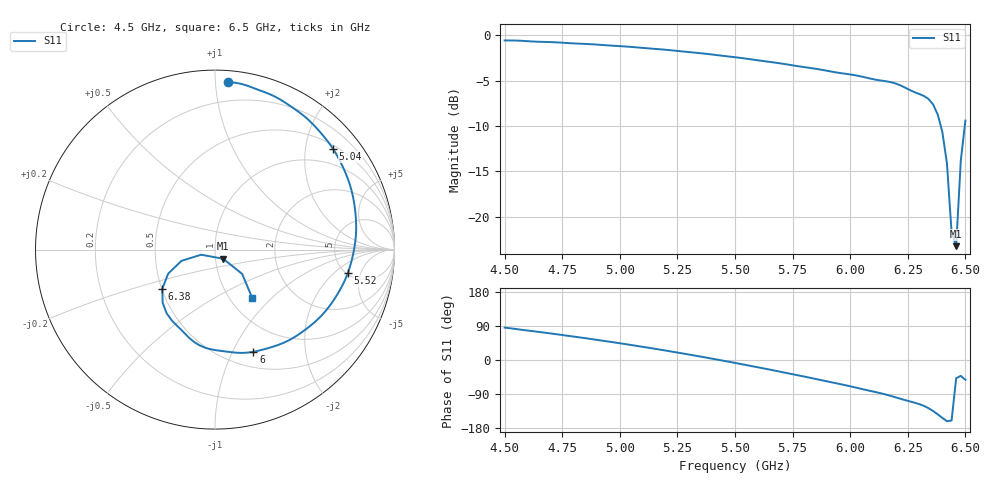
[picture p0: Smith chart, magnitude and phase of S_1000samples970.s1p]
! TOUCHSTONE file generated by CST MICROWAVE STUDIO
! Date and time: Sat Oct 29 23:09:37 2022
! Project name: L.cst
! Parameters = {Di=1.27; Epsilon_r=1.56; InnerDiameter=1.27; Length=2; Lf=10; Lg=60; OuterConductorThickness=0.2921; OuterDiameter=3.6; Wf=3; Wp=41.2; de=1.5; df=6.8; g=0.8; gx=0.905363; gy=3.29982; h=2.34; hf=1.524; px=8.04694; py=13.2864; w=9.7; wx=7.14157; wy=9.98654}
! Header version: 2018
! Port assignment regex: !\s*Touchstone port\s*([0-9]+)\s*=\s*(CST MWS port|CST DS port)\s*([0-9]+|Zmin|Zmax)\s*\(\"(.*)\"\)(\s*mode\s*([0-9]+))?.*
! Touchstone port assignment:
! Touchstone port 1 = CST MWS port 1 ("")
# GHz S DB R 50
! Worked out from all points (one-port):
!   101 points, 4.5 GHz to 6.5 GHz, reference 50 ohm
!   lowest |S11| = -23.3 dB at 6.46 GHz (marker M1), VSWR 1.15, Z = 54.5 - j5.6 ohm
!   |S11| at or under -10 dB: 6.393 GHz to 6.497 GHz (104.2 MHz wide, 1.62 % of centre)
!   S11 on the Smith chart (normalised r, x): 4.5 GHz: 0.07, +1.08; 5.04 GHz: 0.58, +2.60; 5.52 GHz: 5.16, -3.08; 6 GHz: 0.67, -1.21; 6.38 GHz: 0.50, -0.25; 6.5 GHz: 1.26, -0.77
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4.5  -0.57 85.5
4.6  -0.65 77.7
4.76  -0.83 65.1
4.88  -0.99 54.9
5  -1.20 44.2
5.04  -1.26 40.4
5.16  -1.51 28.8
5.26  -1.75 18.6
5.38  -2.06 5.8
5.5  -2.42 -7.6
5.52  -2.48 -10.0
5.64  -2.90 -24.1
5.76  -3.35 -38.8
5.88  -3.82 -53.9
6  -4.32 -69.4
6.16  -5.09 -92.0
6.2  -5.34 -99.0
6.26  -6.05 -109.4
6.32  -6.69 -121.2
6.34  -7.02 -127.2
6.36  -7.64 -134.7
6.38  -8.74 -143.4
6.4  -10.67 -152.9
6.42  -14.13 -161.5
6.44  -21.70 -159.7
6.46  -23.26 -48.1
6.48  -13.84 -41.9
6.5  -9.40 -52.4
